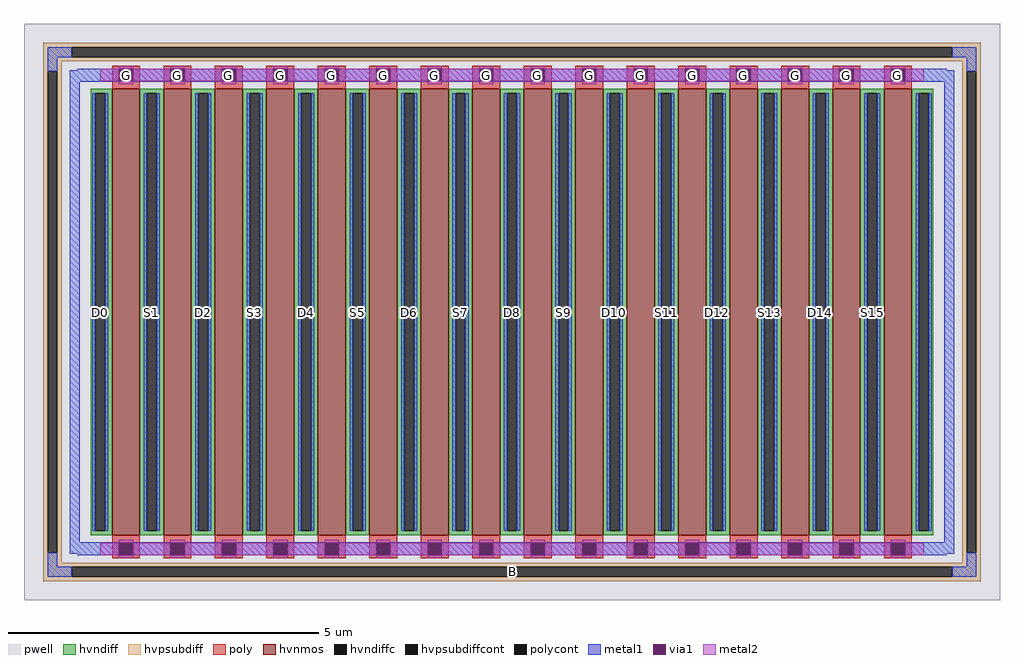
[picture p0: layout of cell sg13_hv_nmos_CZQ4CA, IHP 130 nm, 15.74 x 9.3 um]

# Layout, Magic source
magic
tech ihp-sg13cmos5l
magscale 1 2
<< pwell >>
rect -1574 -930 1574 930
<< hvnmos >>
rect -1290 -720 -1200 720
rect -1124 -720 -1034 720
rect -958 -720 -868 720
rect -792 -720 -702 720
rect -626 -720 -536 720
rect -460 -720 -370 720
rect -294 -720 -204 720
rect -128 -720 -38 720
rect 38 -720 128 720
rect 204 -720 294 720
rect 370 -720 460 720
rect 536 -720 626 720
rect 702 -720 792 720
rect 868 -720 958 720
rect 1034 -720 1124 720
rect 1200 -720 1290 720
<< hvndiff >>
rect -1358 706 -1290 720
rect -1358 -706 -1344 706
rect -1312 -706 -1290 706
rect -1358 -720 -1290 -706
rect -1200 706 -1124 720
rect -1200 -706 -1178 706
rect -1146 -706 -1124 706
rect -1200 -720 -1124 -706
rect -1034 706 -958 720
rect -1034 -706 -1012 706
rect -980 -706 -958 706
rect -1034 -720 -958 -706
rect -868 706 -792 720
rect -868 -706 -846 706
rect -814 -706 -792 706
rect -868 -720 -792 -706
rect -702 706 -626 720
rect -702 -706 -680 706
rect -648 -706 -626 706
rect -702 -720 -626 -706
rect -536 706 -460 720
rect -536 -706 -514 706
rect -482 -706 -460 706
rect -536 -720 -460 -706
rect -370 706 -294 720
rect -370 -706 -348 706
rect -316 -706 -294 706
rect -370 -720 -294 -706
rect -204 706 -128 720
rect -204 -706 -182 706
rect -150 -706 -128 706
rect -204 -720 -128 -706
rect -38 706 38 720
rect -38 -706 -16 706
rect 16 -706 38 706
rect -38 -720 38 -706
rect 128 706 204 720
rect 128 -706 150 706
rect 182 -706 204 706
rect 128 -720 204 -706
rect 294 706 370 720
rect 294 -706 316 706
rect 348 -706 370 706
rect 294 -720 370 -706
rect 460 706 536 720
rect 460 -706 482 706
rect 514 -706 536 706
rect 460 -720 536 -706
rect 626 706 702 720
rect 626 -706 648 706
rect 680 -706 702 706
rect 626 -720 702 -706
rect 792 706 868 720
rect 792 -706 814 706
rect 846 -706 868 706
rect 792 -720 868 -706
rect 958 706 1034 720
rect 958 -706 980 706
rect 1012 -706 1034 706
rect 958 -720 1034 -706
rect 1124 706 1200 720
rect 1124 -706 1146 706
rect 1178 -706 1200 706
rect 1124 -720 1200 -706
rect 1290 706 1358 720
rect 1290 -706 1312 706
rect 1344 -706 1358 706
rect 1290 -720 1358 -706
<< hvndiffc >>
rect -1344 -706 -1312 706
rect -1178 -706 -1146 706
rect -1012 -706 -980 706
rect -846 -706 -814 706
rect -680 -706 -648 706
rect -514 -706 -482 706
rect -348 -706 -316 706
rect -182 -706 -150 706
rect -16 -706 16 706
rect 150 -706 182 706
rect 316 -706 348 706
rect 482 -706 514 706
rect 648 -706 680 706
rect 814 -706 846 706
rect 980 -706 1012 706
rect 1146 -706 1178 706
rect 1312 -706 1344 706
<< hvpsubdiff >>
rect -1512 854 1512 868
rect -1512 822 -1420 854
rect 1420 822 1512 854
rect -1512 808 1512 822
rect -1512 776 -1452 808
rect -1512 -776 -1498 776
rect -1466 -776 -1452 776
rect 1452 776 1512 808
rect -1512 -808 -1452 -776
rect 1452 -776 1466 776
rect 1498 -776 1512 776
rect 1452 -808 1512 -776
rect -1512 -822 1512 -808
rect -1512 -854 -1420 -822
rect 1420 -854 1512 -822
rect -1512 -868 1512 -854
<< hvpsubdiffcont >>
rect -1420 822 1420 854
rect -1498 -776 -1466 776
rect 1466 -776 1498 776
rect -1420 -854 1420 -822
<< poly >>
rect -1290 780 -1200 794
rect -1290 748 -1268 780
rect -1222 748 -1200 780
rect -1290 720 -1200 748
rect -1124 780 -1034 794
rect -1124 748 -1102 780
rect -1056 748 -1034 780
rect -1124 720 -1034 748
rect -958 780 -868 794
rect -958 748 -936 780
rect -890 748 -868 780
rect -958 720 -868 748
rect -792 780 -702 794
rect -792 748 -770 780
rect -724 748 -702 780
rect -792 720 -702 748
rect -626 780 -536 794
rect -626 748 -604 780
rect -558 748 -536 780
rect -626 720 -536 748
rect -460 780 -370 794
rect -460 748 -438 780
rect -392 748 -370 780
rect -460 720 -370 748
rect -294 780 -204 794
rect -294 748 -272 780
rect -226 748 -204 780
rect -294 720 -204 748
rect -128 780 -38 794
rect -128 748 -106 780
rect -60 748 -38 780
rect -128 720 -38 748
rect 38 780 128 794
rect 38 748 60 780
rect 106 748 128 780
rect 38 720 128 748
rect 204 780 294 794
rect 204 748 226 780
rect 272 748 294 780
rect 204 720 294 748
rect 370 780 460 794
rect 370 748 392 780
rect 438 748 460 780
rect 370 720 460 748
rect 536 780 626 794
rect 536 748 558 780
rect 604 748 626 780
rect 536 720 626 748
rect 702 780 792 794
rect 702 748 724 780
rect 770 748 792 780
rect 702 720 792 748
rect 868 780 958 794
rect 868 748 890 780
rect 936 748 958 780
rect 868 720 958 748
rect 1034 780 1124 794
rect 1034 748 1056 780
rect 1102 748 1124 780
rect 1034 720 1124 748
rect 1200 780 1290 794
rect 1200 748 1222 780
rect 1268 748 1290 780
rect 1200 720 1290 748
rect -1290 -748 -1200 -720
rect -1290 -780 -1268 -748
rect -1222 -780 -1200 -748
rect -1290 -794 -1200 -780
rect -1124 -748 -1034 -720
rect -1124 -780 -1102 -748
rect -1056 -780 -1034 -748
rect -1124 -794 -1034 -780
rect -958 -748 -868 -720
rect -958 -780 -936 -748
rect -890 -780 -868 -748
rect -958 -794 -868 -780
rect -792 -748 -702 -720
rect -792 -780 -770 -748
rect -724 -780 -702 -748
rect -792 -794 -702 -780
rect -626 -748 -536 -720
rect -626 -780 -604 -748
rect -558 -780 -536 -748
rect -626 -794 -536 -780
rect -460 -748 -370 -720
rect -460 -780 -438 -748
rect -392 -780 -370 -748
rect -460 -794 -370 -780
rect -294 -748 -204 -720
rect -294 -780 -272 -748
rect -226 -780 -204 -748
rect -294 -794 -204 -780
rect -128 -748 -38 -720
rect -128 -780 -106 -748
rect -60 -780 -38 -748
rect -128 -794 -38 -780
rect 38 -748 128 -720
rect 38 -780 60 -748
rect 106 -780 128 -748
rect 38 -794 128 -780
rect 204 -748 294 -720
rect 204 -780 226 -748
rect 272 -780 294 -748
rect 204 -794 294 -780
rect 370 -748 460 -720
rect 370 -780 392 -748
rect 438 -780 460 -748
rect 370 -794 460 -780
rect 536 -748 626 -720
rect 536 -780 558 -748
rect 604 -780 626 -748
rect 536 -794 626 -780
rect 702 -748 792 -720
rect 702 -780 724 -748
rect 770 -780 792 -748
rect 702 -794 792 -780
rect 868 -748 958 -720
rect 868 -780 890 -748
rect 936 -780 958 -748
rect 868 -794 958 -780
rect 1034 -748 1124 -720
rect 1034 -780 1056 -748
rect 1102 -780 1124 -748
rect 1034 -794 1124 -780
rect 1200 -748 1290 -720
rect 1200 -780 1222 -748
rect 1268 -780 1290 -748
rect 1200 -794 1290 -780
<< polycont >>
rect -1268 748 -1222 780
rect -1102 748 -1056 780
rect -936 748 -890 780
rect -770 748 -724 780
rect -604 748 -558 780
rect -438 748 -392 780
rect -272 748 -226 780
rect -106 748 -60 780
rect 60 748 106 780
rect 226 748 272 780
rect 392 748 438 780
rect 558 748 604 780
rect 724 748 770 780
rect 890 748 936 780
rect 1056 748 1102 780
rect 1222 748 1268 780
rect -1268 -780 -1222 -748
rect -1102 -780 -1056 -748
rect -936 -780 -890 -748
rect -770 -780 -724 -748
rect -604 -780 -558 -748
rect -438 -780 -392 -748
rect -272 -780 -226 -748
rect -106 -780 -60 -748
rect 60 -780 106 -748
rect 226 -780 272 -748
rect 392 -780 438 -748
rect 558 -780 604 -748
rect 724 -780 770 -748
rect 890 -780 936 -748
rect 1056 -780 1102 -748
rect 1222 -780 1268 -748
<< metal1 >>
rect -1498 822 -1420 854
rect 1420 822 1498 854
rect -1498 776 -1466 822
rect -1400 784 1400 785
rect -1400 780 -1268 784
rect -1498 -822 -1466 -776
rect -1426 744 -1268 780
rect -1222 744 -1102 784
rect -1056 744 -936 784
rect -890 744 -770 784
rect -724 744 -604 784
rect -558 744 -438 784
rect -392 744 -272 784
rect -226 744 -106 784
rect -60 744 60 784
rect 106 744 226 784
rect 272 744 392 784
rect 438 744 558 784
rect 604 744 724 784
rect 770 744 890 784
rect 936 744 1056 784
rect 1102 744 1222 784
rect 1268 780 1400 784
rect 1268 744 1426 780
rect -1426 743 1426 744
rect -1426 -743 -1394 743
rect -1354 -706 -1344 706
rect -1312 -706 -1302 706
rect -1188 -706 -1178 706
rect -1146 -706 -1136 706
rect -1022 -706 -1012 706
rect -980 -706 -970 706
rect -856 -706 -846 706
rect -814 -706 -804 706
rect -690 -706 -680 706
rect -648 -706 -638 706
rect -524 -706 -514 706
rect -482 -706 -472 706
rect -358 -706 -348 706
rect -316 -706 -306 706
rect -192 -706 -182 706
rect -150 -706 -140 706
rect -26 -706 -16 706
rect 16 -706 26 706
rect 140 -706 150 706
rect 182 -706 192 706
rect 306 -706 316 706
rect 348 -706 358 706
rect 472 -706 482 706
rect 514 -706 524 706
rect 638 -706 648 706
rect 680 -706 690 706
rect 804 -706 814 706
rect 846 -706 856 706
rect 970 -706 980 706
rect 1012 -706 1022 706
rect 1136 -706 1146 706
rect 1178 -706 1188 706
rect 1302 -706 1312 706
rect 1344 -706 1354 706
rect 1394 -743 1426 743
rect -1426 -744 1426 -743
rect -1426 -780 -1268 -744
rect -1400 -784 -1268 -780
rect -1222 -784 -1102 -744
rect -1056 -784 -936 -744
rect -890 -784 -770 -744
rect -724 -784 -604 -744
rect -558 -784 -438 -744
rect -392 -784 -272 -744
rect -226 -784 -106 -744
rect -60 -784 60 -744
rect 106 -784 226 -744
rect 272 -784 392 -744
rect 438 -784 558 -744
rect 604 -784 724 -744
rect 770 -784 890 -744
rect 936 -784 1056 -744
rect 1102 -784 1222 -744
rect 1268 -780 1426 -744
rect 1466 776 1498 822
rect 1268 -784 1400 -780
rect -1400 -785 1400 -784
rect 1466 -822 1498 -776
rect -1498 -854 -1420 -822
rect 1420 -854 1498 -822
<< via1 >>
rect -1268 780 -1222 784
rect -1268 748 -1222 780
rect -1268 744 -1222 748
rect -1102 780 -1056 784
rect -1102 748 -1056 780
rect -1102 744 -1056 748
rect -936 780 -890 784
rect -936 748 -890 780
rect -936 744 -890 748
rect -770 780 -724 784
rect -770 748 -724 780
rect -770 744 -724 748
rect -604 780 -558 784
rect -604 748 -558 780
rect -604 744 -558 748
rect -438 780 -392 784
rect -438 748 -392 780
rect -438 744 -392 748
rect -272 780 -226 784
rect -272 748 -226 780
rect -272 744 -226 748
rect -106 780 -60 784
rect -106 748 -60 780
rect -106 744 -60 748
rect 60 780 106 784
rect 60 748 106 780
rect 60 744 106 748
rect 226 780 272 784
rect 226 748 272 780
rect 226 744 272 748
rect 392 780 438 784
rect 392 748 438 780
rect 392 744 438 748
rect 558 780 604 784
rect 558 748 604 780
rect 558 744 604 748
rect 724 780 770 784
rect 724 748 770 780
rect 724 744 770 748
rect 890 780 936 784
rect 890 748 936 780
rect 890 744 936 748
rect 1056 780 1102 784
rect 1056 748 1102 780
rect 1056 744 1102 748
rect 1222 780 1268 784
rect 1222 748 1268 780
rect 1222 744 1268 748
rect -1268 -748 -1222 -744
rect -1268 -780 -1222 -748
rect -1268 -784 -1222 -780
rect -1102 -748 -1056 -744
rect -1102 -780 -1056 -748
rect -1102 -784 -1056 -780
rect -936 -748 -890 -744
rect -936 -780 -890 -748
rect -936 -784 -890 -780
rect -770 -748 -724 -744
rect -770 -780 -724 -748
rect -770 -784 -724 -780
rect -604 -748 -558 -744
rect -604 -780 -558 -748
rect -604 -784 -558 -780
rect -438 -748 -392 -744
rect -438 -780 -392 -748
rect -438 -784 -392 -780
rect -272 -748 -226 -744
rect -272 -780 -226 -748
rect -272 -784 -226 -780
rect -106 -748 -60 -744
rect -106 -780 -60 -748
rect -106 -784 -60 -780
rect 60 -748 106 -744
rect 60 -780 106 -748
rect 60 -784 106 -780
rect 226 -748 272 -744
rect 226 -780 272 -748
rect 226 -784 272 -780
rect 392 -748 438 -744
rect 392 -780 438 -748
rect 392 -784 438 -780
rect 558 -748 604 -744
rect 558 -780 604 -748
rect 558 -784 604 -780
rect 724 -748 770 -744
rect 724 -780 770 -748
rect 724 -784 770 -780
rect 890 -748 936 -744
rect 890 -780 936 -748
rect 890 -784 936 -780
rect 1056 -748 1102 -744
rect 1056 -780 1102 -748
rect 1056 -784 1102 -780
rect 1222 -748 1268 -744
rect 1222 -780 1268 -748
rect 1222 -784 1268 -780
<< metal2 >>
rect -1268 784 -1222 793
rect -1102 784 -1056 793
rect -936 784 -890 793
rect -770 784 -724 793
rect -604 784 -558 793
rect -438 784 -392 793
rect -272 784 -226 793
rect -106 784 -60 793
rect 60 784 106 793
rect 226 784 272 793
rect 392 784 438 793
rect 558 784 604 793
rect 724 784 770 793
rect 890 784 936 793
rect 1056 784 1102 793
rect 1222 784 1268 793
rect -1328 744 -1268 784
rect -1222 744 -1102 784
rect -1056 744 -936 784
rect -890 744 -770 784
rect -724 744 -604 784
rect -558 744 -438 784
rect -392 744 -272 784
rect -226 744 -106 784
rect -60 744 60 784
rect 106 744 226 784
rect 272 744 392 784
rect 438 744 558 784
rect 604 744 724 784
rect 770 744 890 784
rect 936 744 1056 784
rect 1102 744 1222 784
rect 1268 744 1328 784
rect -1268 735 -1222 744
rect -1102 735 -1056 744
rect -936 735 -890 744
rect -770 735 -724 744
rect -604 735 -558 744
rect -438 735 -392 744
rect -272 735 -226 744
rect -106 735 -60 744
rect 60 735 106 744
rect 226 735 272 744
rect 392 735 438 744
rect 558 735 604 744
rect 724 735 770 744
rect 890 735 936 744
rect 1056 735 1102 744
rect 1222 735 1268 744
rect -1268 -744 -1222 -735
rect -1102 -744 -1056 -735
rect -936 -744 -890 -735
rect -770 -744 -724 -735
rect -604 -744 -558 -735
rect -438 -744 -392 -735
rect -272 -744 -226 -735
rect -106 -744 -60 -735
rect 60 -744 106 -735
rect 226 -744 272 -735
rect 392 -744 438 -735
rect 558 -744 604 -735
rect 724 -744 770 -735
rect 890 -744 936 -735
rect 1056 -744 1102 -735
rect 1222 -744 1268 -735
rect -1328 -784 -1268 -744
rect -1222 -784 -1102 -744
rect -1056 -784 -936 -744
rect -890 -784 -770 -744
rect -724 -784 -604 -744
rect -558 -784 -438 -744
rect -392 -784 -272 -744
rect -226 -784 -106 -744
rect -60 -784 60 -744
rect 106 -784 226 -744
rect 272 -784 392 -744
rect 438 -784 558 -744
rect 604 -784 724 -744
rect 770 -784 890 -744
rect 936 -784 1056 -744
rect 1102 -784 1222 -744
rect 1268 -784 1328 -744
rect -1268 -793 -1222 -784
rect -1102 -793 -1056 -784
rect -936 -793 -890 -784
rect -770 -793 -724 -784
rect -604 -793 -558 -784
rect -438 -793 -392 -784
rect -272 -793 -226 -784
rect -106 -793 -60 -784
rect 60 -793 106 -784
rect 226 -793 272 -784
rect 392 -793 438 -784
rect 558 -793 604 -784
rect 724 -793 770 -784
rect 890 -793 936 -784
rect 1056 -793 1102 -784
rect 1222 -793 1268 -784
<< labels >>
rlabel hvpsubdiffcont 0 -838 0 -838 0 B
port 1 nsew
rlabel hvndiffc -1328 0 -1328 0 0 D0
port 2 nsew
rlabel polycont -1245 764 -1245 764 0 G
port 3 nsew
rlabel hvndiffc -1162 0 -1162 0 0 S1
port 4 nsew
rlabel polycont -1079 764 -1079 764 0 G
port 3 nsew
rlabel hvndiffc -996 0 -996 0 0 D2
port 5 nsew
rlabel polycont -913 764 -913 764 0 G
port 3 nsew
rlabel hvndiffc -830 0 -830 0 0 S3
port 6 nsew
rlabel polycont -747 764 -747 764 0 G
port 3 nsew
rlabel hvndiffc -664 0 -664 0 0 D4
port 7 nsew
rlabel polycont -581 764 -581 764 0 G
port 3 nsew
rlabel hvndiffc -498 0 -498 0 0 S5
port 8 nsew
rlabel polycont -415 764 -415 764 0 G
port 3 nsew
rlabel hvndiffc -332 0 -332 0 0 D6
port 9 nsew
rlabel polycont -249 764 -249 764 0 G
port 3 nsew
rlabel hvndiffc -166 0 -166 0 0 S7
port 10 nsew
rlabel polycont -83 764 -83 764 0 G
port 3 nsew
rlabel hvndiffc 0 0 0 0 0 D8
port 11 nsew
rlabel polycont 83 764 83 764 0 G
port 3 nsew
rlabel hvndiffc 166 0 166 0 0 S9
port 12 nsew
rlabel polycont 249 764 249 764 0 G
port 3 nsew
rlabel hvndiffc 332 0 332 0 0 D10
port 13 nsew
rlabel polycont 415 764 415 764 0 G
port 3 nsew
rlabel hvndiffc 498 0 498 0 0 S11
port 14 nsew
rlabel polycont 581 764 581 764 0 G
port 3 nsew
rlabel hvndiffc 664 0 664 0 0 D12
port 15 nsew
rlabel polycont 747 764 747 764 0 G
port 3 nsew
rlabel hvndiffc 830 0 830 0 0 S13
port 16 nsew
rlabel polycont 913 764 913 764 0 G
port 3 nsew
rlabel hvndiffc 996 0 996 0 0 D14
port 17 nsew
rlabel polycont 1079 764 1079 764 0 G
port 3 nsew
rlabel hvndiffc 1162 0 1162 0 0 S15
port 18 nsew
rlabel polycont 1245 764 1245 764 0 G
port 3 nsew
<< properties >>
string FIXED_BBOX -1482 -838 1482 838
string gencell sg13_hv_nmos
string library sg13cmos5l
string parameters w 7.2 l 0.45 m 1 ng 16 diffcov 100 polycov 100 guard 1 glc 1 grc 1 gtc 1 gbc 1 tbcov 100 rlcov 100 topc 1 botc 1 poverlap 0 doverlap 1 lmin 0.45 wmin 0.15 class mosfet compatible {sg13_lv_nmos sg13_hv_nmos} full_metal 1 conn_gates 1 gate_ring 1 doports 1 viasrc 0 viadrn 0 viagate 100 ccols 1 viagb 0 viagr 0 viagl 0 viagt 0
<< end >>
